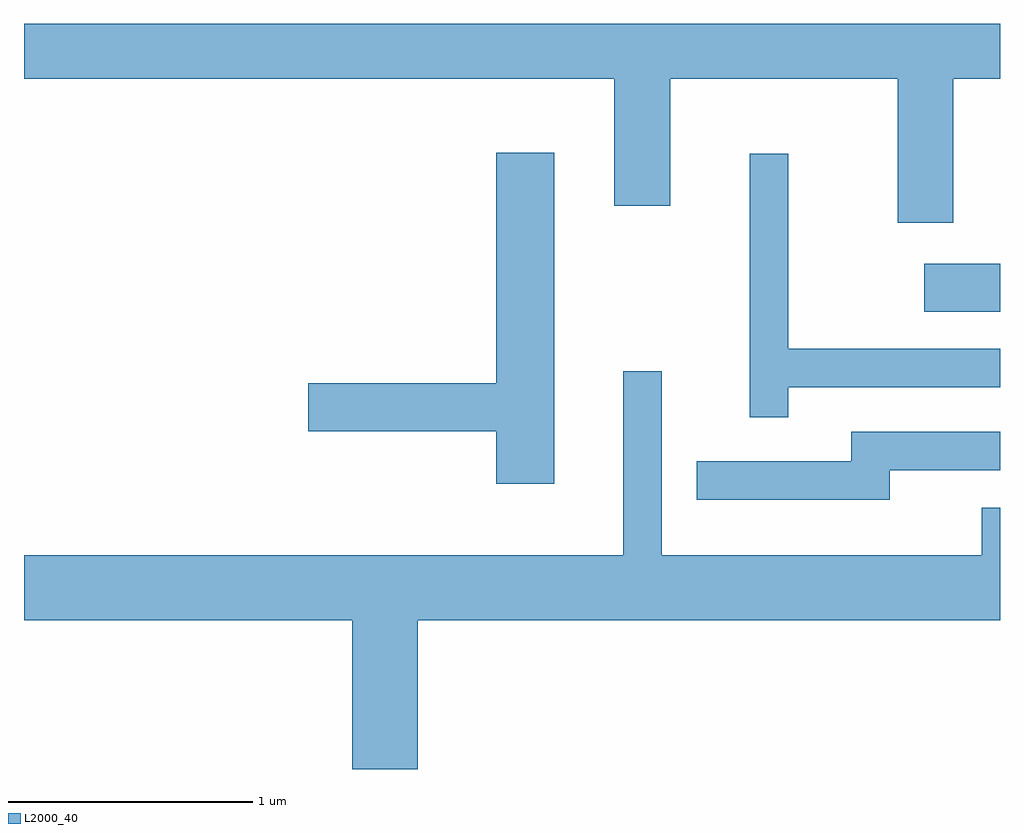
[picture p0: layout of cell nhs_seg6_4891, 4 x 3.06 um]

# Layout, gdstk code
import gdstk
lib = gdstk.Library(unit=1e-6, precision=1e-09)
def R(c, l, rs):  # rectangles x0, y0, x1, y1
    for r in rs: c.add(gdstk.rectangle(r[:2], r[2:], *l))
def P(c, l, *ps):  # polygons
    for p in ps: c.add(gdstk.Polygon(p, *l))
L2000_40 = (2000, 40)

nhs_seg6_4891 = lib.new_cell('nhs_seg6_4891')
R(nhs_seg6_4891, L2000_40, [(337.301,1648.981,337.611,1649.179)])
P(nhs_seg6_4891, L2000_40, [(333.611,1649.936),(336.031,1649.936),(336.031,1649.416),(336.259,1649.416),(336.259,1649.936),(337.191,1649.936),(337.191,1649.346),(337.419,1649.346),(337.419,1649.936),(337.611,1649.936),(337.611,1650.162),(333.611,1650.162)],
  [(335.784,1649.634),(335.546,1649.634),(335.546,1648.689),(334.776,1648.689),(334.776,1648.491),(335.546,1648.491),(335.546,1648.276),(335.784,1648.276)],
  [(336.744,1648.671),(337.611,1648.671),(337.611,1648.829),(336.744,1648.829),(336.744,1649.628),(336.586,1649.628),(336.586,1648.548),(336.744,1648.548)],
  [(335.224,1647.716),(337.611,1647.716),(337.611,1648.179),(337.536,1648.179),(337.536,1647.984),(336.224,1647.984),(336.224,1648.738),(336.066,1648.738),(336.066,1647.984),(333.611,1647.984),(333.611,1647.716),(334.956,1647.716),(334.956,1647.106),(335.224,1647.106)],
  [(337.159,1648.331),(337.611,1648.331),(337.611,1648.489),(337.001,1648.489),(337.001,1648.369),(336.368,1648.369),(336.368,1648.211),(337.159,1648.211)])

lib.write_gds('nhs_seg6_4891.gds')
